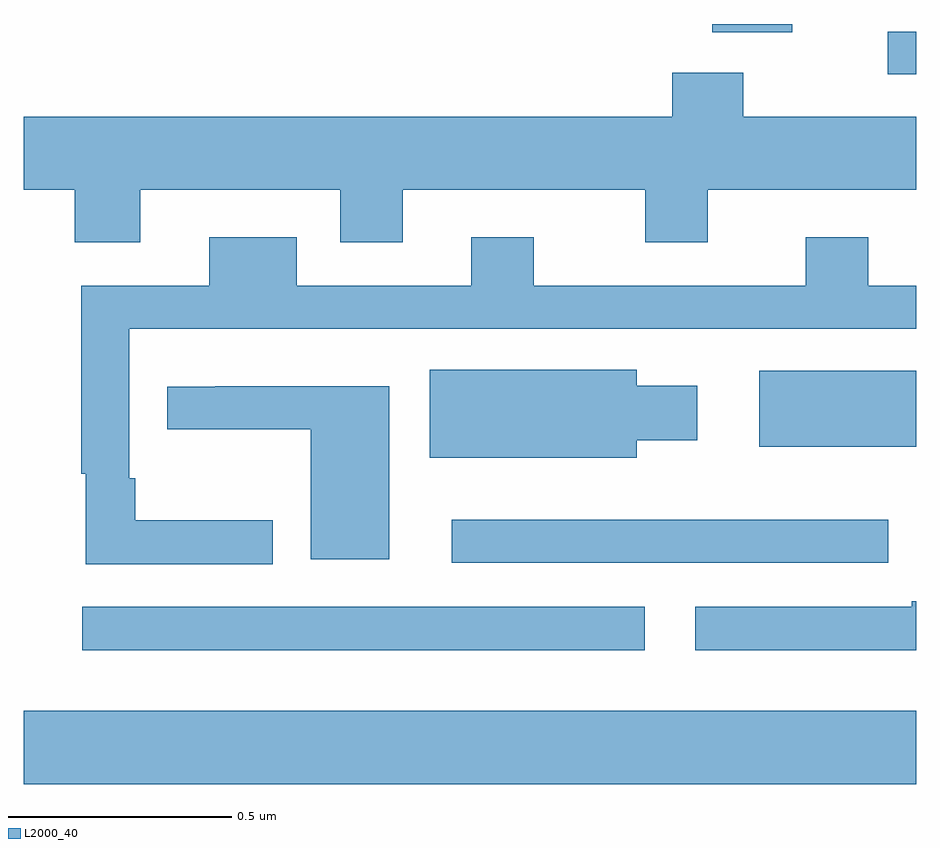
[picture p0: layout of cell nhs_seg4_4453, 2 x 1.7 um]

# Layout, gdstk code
import gdstk
lib = gdstk.Library(unit=1e-6, precision=1e-09)
def R(c, l, rs):  # rectangles x0, y0, x1, y1
    for r in rs: c.add(gdstk.rectangle(r[:2], r[2:], *l))
def P(c, l, *ps):  # polygons
    for p in ps: c.add(gdstk.Polygon(p, *l))
L2000_40 = (2000, 40)

nhs_seg4_4453 = lib.new_cell('nhs_seg4_4453')
R(nhs_seg4_4453, L2000_40, [(166,754.196,168,754.36), (166.131,754.496,167.392,754.593), (166.959,754.692,167.938,754.789), (167.648,754.952,168,755.122), (167.937,755.787,168,755.883), (167.543,755.882,167.722,755.9)])
P(nhs_seg4_4453, L2000_40, [(166.261,755.528),(166.709,755.528),(166.709,755.411),(166.849,755.411),(166.849,755.528),(167.393,755.528),(167.393,755.411),(167.533,755.411),(167.533,755.528),(168,755.528),(168,755.692),(167.613,755.692),(167.613,755.791),(167.453,755.791),(167.453,755.692),(166,755.692),(166,755.528),(166.114,755.528),(166.114,755.411),(166.261,755.411)],
  [(166.558,754.787),(166.249,754.787),(166.249,754.882),(166.236,754.882),(166.236,755.217),(168,755.217),(168,755.313),(167.893,755.313),(167.893,755.422),(167.753,755.422),(167.753,755.313),(167.143,755.313),(167.143,755.422),(167.003,755.422),(167.003,755.313),(166.612,755.313),(166.612,755.422),(166.415,755.422),(166.415,755.313),(166.128,755.313),(166.128,754.892),(166.138,754.892),(166.138,754.689),(166.558,754.689)],
  [(167.374,754.967),(167.509,754.967),(167.509,755.089),(167.374,755.089),(167.374,755.125),(166.91,755.125),(166.91,754.928),(167.374,754.928)],
  [(166.819,755.088),(166.429,755.088),(166.429,755.087),(166.321,755.087),(166.321,754.991),(166.643,754.991),(166.643,754.7),(166.819,754.7)],
  [(168,754.606),(167.99,754.606),(167.99,754.593),(167.505,754.593),(167.505,754.496),(168,754.496)])

lib.write_gds('nhs_seg4_4453.gds')
